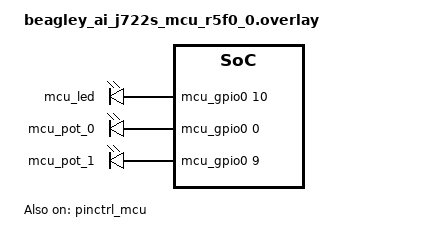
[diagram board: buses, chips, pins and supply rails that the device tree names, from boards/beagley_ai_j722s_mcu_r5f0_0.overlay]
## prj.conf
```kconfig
CONFIG_GPIO=y

CONFIG_UART_CONSOLE=y
CONFIG_CONSOLE=y
CONFIG_PRINTK=y
CONFIG_SERIAL=y

CONFIG_SYS_CLOCK_EXISTS=y
CONFIG_SYS_CLOCK_TICKS_PER_SEC=1000
```

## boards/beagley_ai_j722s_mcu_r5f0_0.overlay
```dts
/*
 * SPDX-License-Identifier: Apache-2.0
 */

#include <zephyr/dt-bindings/gpio/gpio.h>

 / {
    aliases {
        led0 = &mcu_led;
        btn0 = &mcu_pot_0;
	btn1 = &mcu_pot_1;
    };

    leds {
        compatible = "gpio-leds";

        mcu_led: led_gpio24 {
            // GPIO7 = CE1
            // Zen Hat maps to PYMNL.9
            // SoC pin B3 - Mode 7:MCU_GPIO0_9  - Address 0x04084024
            gpios = <&mcu_gpio0 10 GPIO_ACTIVE_HIGH>;
        };

	    mcu_pot_0: btn_gpio8 {
            // GPIO8
            // Zen Hat maps to Rotary encoder's push-button
            // SoC pin C8 - Mode 7:MCU_GPIO0_10 - Address 0x04084028
            gpios = <&mcu_gpio0 0 GPIO_ACTIVE_HIGH>;
        };

        mcu_pot_1: btn_gpio7 {
            // GPIO7
            // Zen Hat maps to Rotary encoder's push-button
            // SoC pin C8 - Mode 7:MCU_GPIO0_10 - Address 0x04084028
            gpios = <&mcu_gpio0 9 GPIO_ACTIVE_HIGH>;
        };
    };

    // ADDED, but does not work.
    pinctrl_mcu: pinctrl_mcu@4084000 {
        compatible = "ti,k3-pinctrl";
        reg = <0x04084000 0x88>;
        status = "okay";
    };

};

// ADDED, but does not work.
&pinctrl_mcu {
    // TODO: Pinmux seems not to be working
    // Had to execute
    //      gpioset gpiochip0 9=1
    //      gpioget gpiochip0 10
    // on clean boot to make it flash the LED and read the pin.
    mcu_gpio0_led_btn_default: mcu_gpio0_led_btn_default {
        pinmux = <K3_PINMUX(0x0024, PIN_OUTPUT, MUX_MODE_7)>; /* (B3) GPIO7*/
        pinmux = <K3_PINMUX(0x0028, PIN_INPUT, MUX_MODE_7)>; /* (C8) GPIO24*/
    };
};

&mcu_gpio0 {
    pinctrl-0 = <&mcu_gpio0_led_btn_default>;
    pinctrl-names = "default";
    status = "okay";
};
```

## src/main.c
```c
/*
 * R5 Sample Code for Shared Memory with Linux
 */
#include <stdio.h>
#include <stdlib.h>
#include <zephyr/kernel.h>
#include <zephyr/drivers/gpio.h>
#include <string.h>

#include "sharedDataLayout.h"

// Memory
// ----------------------------------------
#define SHARED_MEM_BTCM_START 0x00000000 // TRM p848
#define SHARED_MEM_ATCM_START 0x00041010 // TRM p849
#define BASE                  ((void *)(SHARED_MEM_BTCM_START))

// Access GPIO (for demonstration purposes)
// ----------------------------------------
// 1,000,000 uSec = 1000 msec = 1 sec
#define MICRO_SECONDS_PER_MILI_SECOND (1000)
#define DEFAULT_LED_DELAY_MS          (100)

// Device tree nodes for pin aliases
#define LED0_NODE DT_ALIAS(led0)
#define BTN0_NODE DT_ALIAS(btn0)
#define BTN1_NODE DT_ALIAS(btn1)

static const struct gpio_dt_spec led = GPIO_DT_SPEC_GET(LED0_NODE, gpios);
static const struct gpio_dt_spec chrg = GPIO_DT_SPEC_GET(BTN0_NODE, gpios);
static const struct gpio_dt_spec sens = GPIO_DT_SPEC_GET(BTN1_NODE, gpios);

static void initialize_gpio(const struct gpio_dt_spec *pPin, int direction)
{
	if (!gpio_is_ready_dt(pPin)) {
		printk("ERROR: GPIO pin not ready read; direction %d\n", direction);
		exit(EXIT_FAILURE);
	}

	int ret = gpio_pin_configure_dt(pPin, direction);
	if (ret < 0) {
		printk("ERROR: GPIO Pin Configure issue; direction %d\n", direction);
		exit(EXIT_FAILURE);
	}
}

// RC Timing: Discharge and read time to logic HIGH
static uint32_t read_charge_time_us()
{
	// Discharge the capacitor
	gpio_pin_set_dt(&chrg, 0);
	k_busy_wait(5000); // Waits 5 ms (5000 us)
	
	// Begin charging
	gpio_pin_set_dt(&chrg, 1);

	// Start timing
	uint32_t start = k_cycle_get_32();
	while (gpio_pin_get_dt(&sens) == 0) {
		if (k_cyc_to_us_floor32(k_cycle_get_32() - start) > 1000000) {
			break; // timeout after 1 second
		}
	}
	uint32_t elapsed_us = k_cyc_to_us_floor32(k_cycle_get_32() - start);
	return elapsed_us;
}

int main(void)
{
	printk("Hello World! %s\n", CONFIG_BOARD_TARGET);


	initialize_gpio(&led, GPIO_OUTPUT_ACTIVE);
	initialize_gpio(&sens, GPIO_INPUT);
	initialize_gpio(&chrg, GPIO_OUTPUT_INACTIVE);

	printk("Contents of Shared Memory BTCM:\n");
	for (int i = MSG_OFFSET; i < END_MEMORY_OFFSET; i++) {
		uint8_t val = getSharedMem_uint8(BASE, i);
		printk("0x%08x = %2x (%c)\n", i, val, val);
	}

	// Setup defaults
	printk("Writing to BTCM...\n");
	char *msg = "Hello from R5 World (Take 7)!";
	for (int i = 0; i < strlen(msg); i++) {
		setSharedMem_uint8(BASE, MSG_OFFSET + i, msg[i]);
	}

	setSharedMem_uint32(BASE, LED_DELAY_MS_OFFSET, DEFAULT_LED_DELAY_MS);
	setSharedMem_uint32(BASE, IS_BUTTON_PRESSED_OFFSET, 0);
	setSharedMem_uint32(BASE, BTN_COUNT_OFFSET, 0);
	setSharedMem_uint32(BASE, LOOP_COUNT_OFFSET, 0);

	printk("Contents of Shared Memory BTCM After Write:\n");
	for (int i = MSG_OFFSET; i < END_MEMORY_OFFSET; i++) {
		uint8_t val = getSharedMem_uint8(BASE, i);
		printk("0x%08x = %2x (%c)\n", i, val, val);
	}

	bool led_state = true;
	uint32_t btnCount = 0;
	uint32_t loopCount = 0;
	printk("RC timing (discharge-based analog read)\n");
	while (true) {
		// Toggle LED
		printk("LED state: %s\n", led_state ? "OFF" : "ON");
		if (gpio_pin_toggle_dt(&led) < 0) {
			printk("ERROR: GPIO Pin Toggle DT\n");
			return 0;
		}
		led_state = !led_state;

		// Read GPIO state and share with Linux
		int state = gpio_pin_get_dt(&sens);
		bool isPressed = state == 0;
		// printk("Is button pressed? %d\n", isPressed);

		// Update shared count of butten pressed
		if (isPressed) {
			btnCount++;
		}
		loopCount++;

		uint32_t charge_time_us = read_charge_time_us();
		printk("Charge time: %u us\n", charge_time_us);

		// Update shared memory to Linux
		setSharedMem_uint32(BASE, IS_BUTTON_PRESSED_OFFSET, isPressed);
		setSharedMem_uint32(BASE, LOOP_COUNT_OFFSET, loopCount);
		setSharedMem_uint32(BASE, BTN_COUNT_OFFSET, charge_time_us);

		// Wait for delay (set by Linux app)
		// uint32_t delay = getSharedMem_uint32(BASE, LED_DELAY_MS_OFFSET);
		// k_busy_wait(delay * MICRO_SECONDS_PER_MILI_SECOND);
		uint32_t delay = 500;
		k_busy_wait(delay * MICRO_SECONDS_PER_MILI_SECOND);
		// k_msleep(delay);  // Let other threads (like OpenAMP) run
	}
	return 0;
}
```
